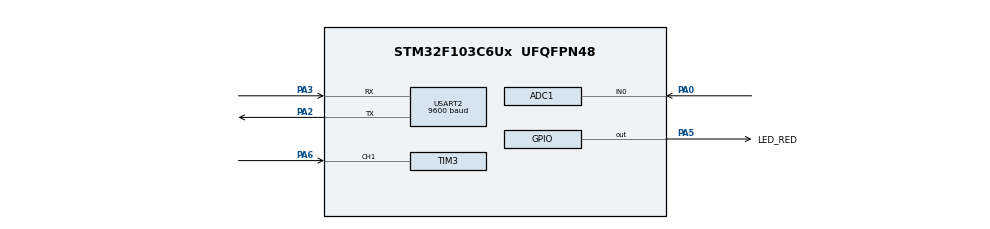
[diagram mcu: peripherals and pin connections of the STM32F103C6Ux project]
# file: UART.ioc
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ADC1.Channel-0\#ChannelRegularConversion=ADC_CHANNEL_0
ADC1.ContinuousConvMode=ENABLE
ADC1.NbrOfConversionFlag=1
ADC1.Rank-0\#ChannelRegularConversion=1
ADC1.SamplingTime-0\#ChannelRegularConversion=ADC_SAMPLETIME_1CYCLE_5
ADC1.master=1
Mcu.Family=STM32F1
Mcu.Name=STM32F103C6Ux
Mcu.Package=UFQFPN48
NVIC.PriorityGroup=NVIC_PRIORITYGROUP_4
NVIC.TIM2_IRQn=true\:0\:0\:false\:false\:true\:true\:true
NVIC.USART2_IRQn=true\:0\:0\:false\:false\:true\:true\:true
PA0-WKUP.Signal=ADCx_IN0
PA2.Mode=Asynchronous
PA2.Signal=USART2_TX
PA3.Mode=Asynchronous
PA3.Signal=USART2_RX
PA5.GPIO_Label=LED_RED
PA5.Signal=GPIO_Output
PA6.Signal=S_TIM3_CH1
ProjectManager.HeapSize=0x200
ProjectManager.StackSize=0x400
ProjectManager.TargetToolchain=STM32CubeIDE
RCC.APB1Freq_Value=8000000
RCC.APB2Freq_Value=8000000
SH.ADCx_IN0.0=ADC1_IN0,IN0
SH.S_TIM3_CH1.0=TIM3_CH1,Input_Capture1_from_TI1
TIM2.Period=9
TIM2.Prescaler=7999
TIM3.Channel-Input_Capture1_from_TI1=TIM_CHANNEL_1
USART2.BaudRate=9600
USART2.VirtualMode=VM_ASYNC
VP_SYS_VS_ND.Mode=No_Debug
VP_TIM2_VS_ClockSourceINT.Mode=Internal
board=custom

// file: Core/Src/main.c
/* USER CODE BEGIN Header */
/**
  ******************************************************************************
  * @file           : main.c
  * @brief          : Main program body
  ******************************************************************************
  * @attention
  *
  * <h2><center>&copy; Copyright (c) 2022 STMicroelectronics.
  * All rights reserved.</center></h2>
  *
  * This software component is licensed by ST under BSD 3-Clause license,
  * the "License"; You may not use this file except in compliance with the
  * License. You may obtain a copy of the License at:
  *                        opensource.org/licenses/BSD-3-Clause
  *
  ******************************************************************************
  */
/* USER CODE END Header */
#include "main.h"

/* USER CODE BEGIN Includes */
#include "global.h"
#include "string.h"
#include "stdio.h"
#include "software_timer.h"
#include "command_parser.h"
#include "uart_communication.h"
/* USER CODE END Includes */

ADC_HandleTypeDef hadc1;

TIM_HandleTypeDef htim2;
TIM_HandleTypeDef htim3;

UART_HandleTypeDef huart2;

void SystemClock_Config(void);
static void MX_GPIO_Init(void);
static void MX_ADC1_Init(void);
static void MX_TIM2_Init(void);
static void MX_TIM3_Init(void);
static void MX_USART2_UART_Init(void);

/* USER CODE BEGIN 0 */
void HAL_UART_RxCpltCallback(UART_HandleTypeDef * huart) {
	if(huart->Instance == USART2){
		buffer[index_buffer++] = temp;
		if(index_buffer == MAX_BUFFER_SIZE) index_buffer = 0;
		buffer_flag = 1;
		HAL_UART_Transmit(&huart2, &temp, 1, 50);
		HAL_UART_Receive_IT(&huart2, &temp, 1);
	}
}
/* USER CODE END 0 */

int main(void)
{

  /* MCU Configuration--------------------------------------------------------*/

  /* Reset of all peripherals, Initializes the Flash interface and the Systick. */
  HAL_Init();

  /* Configure the system clock */
  SystemClock_Config();

  /* Initialize all configured peripherals */
  MX_GPIO_Init();
  MX_ADC1_Init();
  MX_TIM2_Init();
  MX_TIM3_Init();
  MX_USART2_UART_Init();
  /* USER CODE BEGIN 2 */
  HAL_TIM_Base_Start_IT(&htim2);
  HAL_UART_Receive_IT(&huart2, &temp, 1);
  /* USER CODE END 2 */

  /* Infinite loop */
  /* USER CODE BEGIN WHILE */
  setTimer1(500);
  timer2_flag = 1; //In output lan dau tien
  while (1)
  {
    /* USER CODE END WHILE */

    /* USER CODE BEGIN 3 */
	  if (timer1_flag == 1) {
		  HAL_GPIO_TogglePin(LED_RED_GPIO_Port, LED_RED_Pin);
		  setTimer1(500);
	  }
	  if (buffer_flag == 1) {
		  command_parser_fsm();
		  buffer_flag = 0;
	  }
	  uart_communiation_fsm(hadc1, huart2);

  }
  /* USER CODE END 3 */
}

void SystemClock_Config(void)
{
  RCC_OscInitTypeDef RCC_OscInitStruct = {0};
  RCC_ClkInitTypeDef RCC_ClkInitStruct = {0};
  RCC_PeriphCLKInitTypeDef PeriphClkInit = {0};

  /** Initializes the RCC Oscillators according to the specified parameters
  * in the RCC_OscInitTypeDef structure.
  */
  RCC_OscInitStruct.OscillatorType = RCC_OSCILLATORTYPE_HSI;
  RCC_OscInitStruct.HSIState = RCC_HSI_ON;
  RCC_OscInitStruct.HSICalibrationValue = RCC_HSICALIBRATION_DEFAULT;
  RCC_OscInitStruct.PLL.PLLState = RCC_PLL_NONE;
  if (HAL_RCC_OscConfig(&RCC_OscInitStruct) != HAL_OK)
  {
    Error_Handler();
  }
  /** Initializes the CPU, AHB and APB buses clocks
  */
  RCC_ClkInitStruct.ClockType = RCC_CLOCKTYPE_HCLK|RCC_CLOCKTYPE_SYSCLK
                              |RCC_CLOCKTYPE_PCLK1|RCC_CLOCKTYPE_PCLK2;
  RCC_ClkInitStruct.SYSCLKSource = RCC_SYSCLKSOURCE_HSI;
  RCC_ClkInitStruct.AHBCLKDivider = RCC_SYSCLK_DIV1;
  RCC_ClkInitStruct.APB1CLKDivider = RCC_HCLK_DIV1;
  RCC_ClkInitStruct.APB2CLKDivider = RCC_HCLK_DIV1;

  if (HAL_RCC_ClockConfig(&RCC_ClkInitStruct, FLASH_LATENCY_0) != HAL_OK)
  {
    Error_Handler();
  }
  PeriphClkInit.PeriphClockSelection = RCC_PERIPHCLK_ADC;
  PeriphClkInit.AdcClockSelection = RCC_ADCPCLK2_DIV2;
  if (HAL_RCCEx_PeriphCLKConfig(&PeriphClkInit) != HAL_OK)
  {
    Error_Handler();
  }
}

static void MX_ADC1_Init(void)
{

  ADC_ChannelConfTypeDef sConfig = {0};

  /** Common config
  */
  hadc1.Instance = ADC1;
  hadc1.Init.ScanConvMode = ADC_SCAN_DISABLE;
  hadc1.Init.ContinuousConvMode = ENABLE;
  hadc1.Init.DiscontinuousConvMode = DISABLE;
  hadc1.Init.ExternalTrigConv = ADC_SOFTWARE_START;
  hadc1.Init.DataAlign = ADC_DATAALIGN_RIGHT;
  hadc1.Init.NbrOfConversion = 1;
  if (HAL_ADC_Init(&hadc1) != HAL_OK)
  {
    Error_Handler();
  }
  /** Configure Regular Channel
  */
  sConfig.Channel = ADC_CHANNEL_0;
  sConfig.Rank = ADC_REGULAR_RANK_1;
  sConfig.SamplingTime = ADC_SAMPLETIME_1CYCLE_5;
  if (HAL_ADC_ConfigChannel(&hadc1, &sConfig) != HAL_OK)
  {
    Error_Handler();
  }

}

static void MX_TIM2_Init(void)
{

  TIM_ClockConfigTypeDef sClockSourceConfig = {0};
  TIM_MasterConfigTypeDef sMasterConfig = {0};

  htim2.Instance = TIM2;
  htim2.Init.Prescaler = 7999;
  htim2.Init.CounterMode = TIM_COUNTERMODE_UP;
  htim2.Init.Period = 9;
  htim2.Init.ClockDivision = TIM_CLOCKDIVISION_DIV1;
  htim2.Init.AutoReloadPreload = TIM_AUTORELOAD_PRELOAD_DISABLE;
  if (HAL_TIM_Base_Init(&htim2) != HAL_OK)
  {
    Error_Handler();
  }
  sClockSourceConfig.ClockSource = TIM_CLOCKSOURCE_INTERNAL;
  if (HAL_TIM_ConfigClockSource(&htim2, &sClockSourceConfig) != HAL_OK)
  {
    Error_Handler();
  }
  sMasterConfig.MasterOutputTrigger = TIM_TRGO_RESET;
  sMasterConfig.MasterSlaveMode = TIM_MASTERSLAVEMODE_DISABLE;
  if (HAL_TIMEx_MasterConfigSynchronization(&htim2, &sMasterConfig) != HAL_OK)
  {
    Error_Handler();
  }

}

static void MX_TIM3_Init(void)
{

  TIM_MasterConfigTypeDef sMasterConfig = {0};
  TIM_IC_InitTypeDef sConfigIC = {0};

  htim3.Instance = TIM3;
  htim3.Init.Prescaler = 0;
  htim3.Init.CounterMode = TIM_COUNTERMODE_UP;
  htim3.Init.Period = 65535;
  htim3.Init.ClockDivision = TIM_CLOCKDIVISION_DIV1;
  htim3.Init.AutoReloadPreload = TIM_AUTORELOAD_PRELOAD_DISABLE;
  if (HAL_TIM_IC_Init(&htim3) != HAL_OK)
  {
    Error_Handler();
  }
  sMasterConfig.MasterOutputTrigger = TIM_TRGO_RESET;
  sMasterConfig.MasterSlaveMode = TIM_MASTERSLAVEMODE_DISABLE;
  if (HAL_TIMEx_MasterConfigSynchronization(&htim3, &sMasterConfig) != HAL_OK)
  {
    Error_Handler();
  }
  sConfigIC.ICPolarity = TIM_INPUTCHANNELPOLARITY_RISING;
  sConfigIC.ICSelection = TIM_ICSELECTION_DIRECTTI;
  sConfigIC.ICPrescaler = TIM_ICPSC_DIV1;
  sConfigIC.ICFilter = 0;
  if (HAL_TIM_IC_ConfigChannel(&htim3, &sConfigIC, TIM_CHANNEL_1) != HAL_OK)
  {
    Error_Handler();
  }

}

static void MX_USART2_UART_Init(void)
{

  huart2.Instance = USART2;
  huart2.Init.BaudRate = 9600;
  huart2.Init.WordLength = UART_WORDLENGTH_8B;
  huart2.Init.StopBits = UART_STOPBITS_1;
  huart2.Init.Parity = UART_PARITY_NONE;
  huart2.Init.Mode = UART_MODE_TX_RX;
  huart2.Init.HwFlowCtl = UART_HWCONTROL_NONE;
  huart2.Init.OverSampling = UART_OVERSAMPLING_16;
  if (HAL_UART_Init(&huart2) != HAL_OK)
  {
    Error_Handler();
  }

}

static void MX_GPIO_Init(void)
{
  GPIO_InitTypeDef GPIO_InitStruct = {0};

  /* GPIO Ports Clock Enable */
  __HAL_RCC_GPIOA_CLK_ENABLE();

  /*Configure GPIO pin Output Level */
  HAL_GPIO_WritePin(LED_RED_GPIO_Port, LED_RED_Pin, GPIO_PIN_RESET);

  /*Configure GPIO pin : LED_RED_Pin */
  GPIO_InitStruct.Pin = LED_RED_Pin;
  GPIO_InitStruct.Mode = GPIO_MODE_OUTPUT_PP;
  GPIO_InitStruct.Pull = GPIO_NOPULL;
  GPIO_InitStruct.Speed = GPIO_SPEED_FREQ_LOW;
  HAL_GPIO_Init(LED_RED_GPIO_Port, &GPIO_InitStruct);

}

/* USER CODE BEGIN 4 */
void HAL_TIM_PeriodElapsedCallback(TIM_HandleTypeDef *htim){
	timerRun();
}
/* USER CODE END 4 */

void Error_Handler(void)
{
  __disable_irq();
  while (1)
  {
  }
}

/************************ (C) COPYRIGHT STMicroelectronics *****END OF FILE****/
